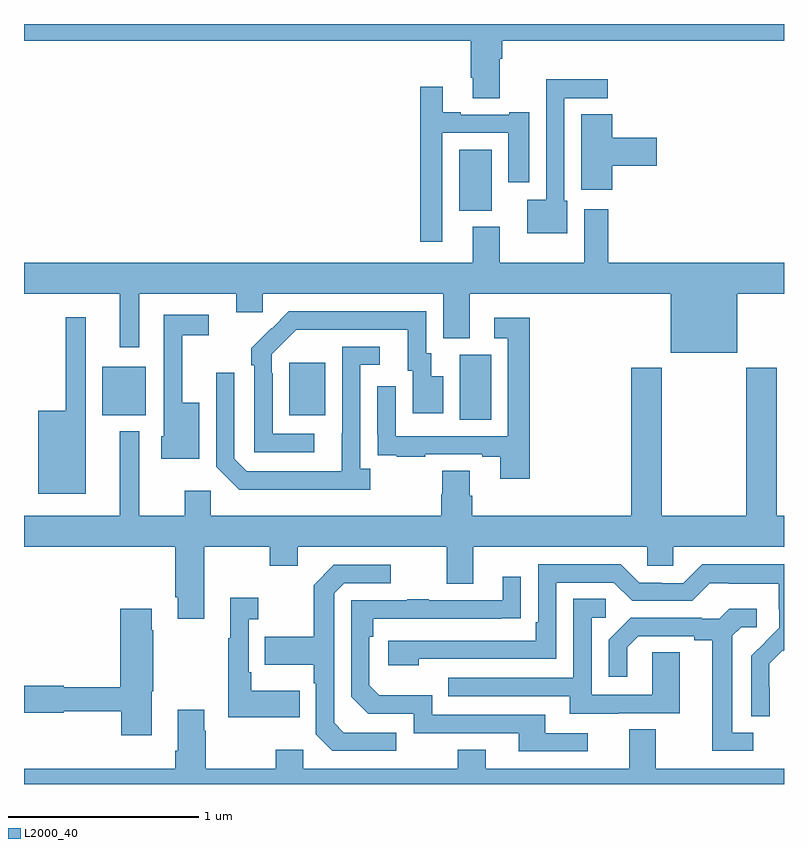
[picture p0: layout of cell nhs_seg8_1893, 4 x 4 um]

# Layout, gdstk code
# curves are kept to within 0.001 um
import gdstk
lib = gdstk.Library(unit=1e-6, precision=1e-09)
def R(c, l, rs):  # rectangles x0, y0, x1, y1
    for r in rs: c.add(gdstk.rectangle(r[:2], r[2:], *l))
def P(c, l, *ps):  # polygons
    for p in ps: c.add(gdstk.Polygon(p, *l))
L2000_40 = (2000, 40)

nhs_seg8_1893 = lib.new_cell('nhs_seg8_1893')
R(nhs_seg8_1893, L2000_40, [(233.294,1135.816,233.458,1136.16), (231.413,1135.841,231.64,1136.095), (232.397,1135.841,232.585,1136.116), (233.291,1136.918,233.461,1137.238)])
P(nhs_seg8_1893, L2000_40, [(233.503,1137.716),(233.516,1137.716),(233.516,1137.812),(235,1137.812),(235,1137.9),(231,1137.9),(231,1137.812),(233.351,1137.812),(233.351,1137.616),(233.363,1137.616),(233.363,1137.508),(233.503,1137.508)],
  [(233.86,1136.97),(233.844,1136.97),(233.844,1137.51),(234.073,1137.51),(234.073,1137.608),(233.748,1137.608),(233.748,1136.974),(233.648,1136.974),(233.648,1136.798),(233.86,1136.798)],
  [(233.202,1137.327),(233.549,1137.327),(233.549,1137.066),(233.659,1137.066),(233.659,1137.436),(233.555,1137.436),(233.555,1137.423),(233.299,1137.423),(233.299,1137.436),(233.203,1137.436),(233.203,1137.571),(233.086,1137.571),(233.086,1136.754),(233.202,1136.754)],
  [(234.095,1137.155),(234.331,1137.155),(234.331,1137.302),(234.095,1137.302),(234.095,1137.425),(233.933,1137.425),(233.933,1137.027),(234.095,1137.027)],
  [(234.754,1136.48),(235,1136.48),(235,1136.644),(234.074,1136.644),(234.074,1136.926),(233.948,1136.926),(233.948,1136.644),(233.503,1136.644),(233.503,1136.833),(233.363,1136.833),(233.363,1136.644),(231,1136.644),(231,1136.48),(231.503,1136.48),(231.503,1136.199),(231.607,1136.199),(231.607,1136.48),(232.118,1136.48),(232.118,1136.382),(232.257,1136.382),(232.257,1136.48),(233.207,1136.48),(233.207,1136.245),(233.347,1136.245),(233.347,1136.48),(234.404,1136.48),(234.404,1136.171),(234.754,1136.171)],
  [(232.528,1135.743),(232.308,1135.743),(232.308,1136.063),(232.305,1136.063),(232.305,1136.163),(232.434,1136.292),(233.021,1136.292),(233.021,1136.076),(233.045,1136.076),(233.045,1135.851),(233.206,1135.851),(233.206,1136.047),(233.143,1136.047),(233.143,1136.166),(233.118,1136.166),(233.118,1136.388),(232.394,1136.388),(232.197,1136.193),(232.197,1136.105),(232.212,1136.105),(232.212,1135.647),(232.528,1135.647)],
  [(231.922,1135.906),(231.833,1135.906),(231.833,1136.262),(231.973,1136.262),(231.973,1136.37),(231.735,1136.37),(231.735,1135.731),(231.722,1135.731),(231.722,1135.613),(231.922,1135.613)],
  [(231.325,1136.356),(231.221,1136.356),(231.221,1135.864),(231.074,1135.864),(231.074,1135.427),(231.325,1135.427)],
  [(233.663,1136.353),(233.475,1136.353),(233.475,1136.247),(233.547,1136.247),(233.547,1135.731),(232.956,1135.731),(232.956,1135.993),(232.86,1135.993),(232.86,1135.738),(232.861,1135.738),(232.861,1135.629),(232.963,1135.629),(232.963,1135.623),(233.111,1135.623),(233.111,1135.635),(233.411,1135.635),(233.411,1135.623),(233.507,1135.623),(233.507,1135.506),(233.663,1135.506)],
  [(232.822,1135.558),(232.77,1135.558),(232.77,1136.106),(232.873,1136.106),(232.873,1136.202),(232.674,1136.202),(232.673,1135.545),(232.173,1135.545),(232.107,1135.611),(232.107,1136.065),(232.011,1136.065),(232.011,1135.569),(232.132,1135.448),(232.822,1135.448)],
  [(233.225,1134.954),(233.365,1134.954),(233.365,1135.148),(234.279,1135.148),(234.279,1135.05),(234.417,1135.05),(234.417,1135.148),(235,1135.148),(235,1135.312),(234.962,1135.312),(234.962,1136.092),(234.802,1136.092),(234.802,1135.312),(234.357,1135.312),(234.357,1136.092),(234.197,1136.092),(234.197,1135.312),(233.36,1135.312),(233.36,1135.418),(233.347,1135.418),(233.347,1135.55),(233.2,1135.55),(233.2,1135.425),(233.195,1135.425),(233.195,1135.312),(231.984,1135.312),(231.984,1135.444),(231.845,1135.444),(231.845,1135.312),(231.607,1135.312),(231.607,1135.756),(231.503,1135.756),(231.503,1135.312),(231,1135.312),(231,1135.148),(231.797,1135.148),(231.797,1134.883),(231.809,1134.883),(231.809,1134.771),(231.949,1134.771),(231.949,1135.148),(232.294,1135.148),(232.294,1135.049),(232.441,1135.049),(232.441,1135.148),(233.225,1135.148)],
  [(234.924,1134.41),(234.923,1134.533),(234.993,1134.603),(234.996,1134.6),(235,1134.604),(235,1135.057),(234.571,1135.057),(234.471,1134.957),(234.356,1134.957),(234.356,1134.96),(234.237,1134.96),(234.141,1135.056),(233.706,1135.056),(233.706,1134.751),(233.693,1134.751),(233.693,1134.654),(232.917,1134.654),(232.917,1134.524),(233.078,1134.524),(233.078,1134.558),(233.802,1134.558),(233.802,1134.96),(234.105,1134.96),(234.201,1134.864),(234.516,1134.864),(234.609,1134.957),(234.709,1134.957),(234.709,1134.953),(234.972,1134.953),(234.972,1134.819),(234.974,1134.819),(234.974,1134.722),(234.828,1134.574),(234.828,1134.256),(234.924,1134.256)],
  [(232.96,1134.171),(232.683,1134.171),(232.632,1134.222),(232.632,1134.903),(232.686,1134.957),(232.93,1134.957),(232.93,1135.053),(232.629,1135.053),(232.524,1134.947),(232.524,1134.675),(232.267,1134.675),(232.267,1134.527),(232.524,1134.527),(232.524,1134.431),(232.536,1134.431),(232.536,1134.162),(232.623,1134.075),(232.96,1134.075)],
  [(233.968,1134.168),(233.743,1134.168),(233.743,1134.264),(233.148,1134.264),(233.148,1134.367),(232.871,1134.367),(232.818,1134.42),(232.818,1134.674),(232.838,1134.674),(232.838,1134.771),(233.615,1134.772),(233.615,1134.991),(233.519,1134.991),(233.519,1134.867),(233.129,1134.867),(233.129,1134.872),(233.017,1134.872),(233.017,1134.867),(232.722,1134.867),(232.722,1134.36),(232.812,1134.27),(233.052,1134.27),(233.052,1134.168),(233.603,1134.168),(233.603,1134.072),(233.968,1134.072)],
  [(232.451,1134.391),(232.195,1134.391),(232.195,1134.487),(232.182,1134.487),(232.182,1134.767),(232.234,1134.767),(232.234,1134.88),(232.085,1134.88),(232.085,1134.667),(232.074,1134.667),(232.074,1134.251),(232.451,1134.251)],
  [(234.127,1134.273),(234.451,1134.273),(234.451,1134.593),(234.306,1134.593),(234.306,1134.369),(233.988,1134.369),(233.988,1134.774),(234.061,1134.774),(234.061,1134.875),(233.892,1134.875),(233.892,1134.459),(233.233,1134.459),(233.233,1134.363),(233.873,1134.363),(233.873,1134.269),(234.127,1134.269)],
  [(234.838,1134.171),(234.727,1134.171),(234.727,1134.679),(234.774,1134.726),(234.856,1134.726),(234.856,1134.823),(234.712,1134.823),(234.66,1134.771),(234.566,1134.771),(234.566,1134.774),(234.194,1134.774),(234.078,1134.658),(234.078,1134.465),(234.175,1134.465),(234.175,1134.621),(234.232,1134.678),(234.527,1134.678),(234.527,1134.656),(234.623,1134.656),(234.623,1134.075),(234.838,1134.075)],
  [(231.673,1134.387),(231.681,1134.387),(231.681,1134.71),(231.673,1134.71),(231.673,1134.823),(231.506,1134.823),(231.506,1134.41),(231.21,1134.41),(231.21,1134.416),(231,1134.416),(231,1134.274),(231.21,1134.274),(231.21,1134.282),(231.511,1134.282),(231.511,1134.156),(231.673,1134.156)],
  [(235,1133.98),(234.325,1133.98),(234.325,1134.188),(234.185,1134.188),(234.185,1133.98),(233.431,1133.98),(233.431,1134.079),(233.284,1134.079),(233.284,1133.98),(232.47,1133.98),(232.47,1134.079),(232.324,1134.079),(232.324,1133.98),(231.957,1133.98),(231.957,1134.179),(231.949,1134.179),(231.949,1134.292),(231.809,1134.292),(231.809,1134.076),(231.797,1134.076),(231.797,1133.98),(231,1133.98),(231,1133.9),(235,1133.9)])

lib.write_gds('nhs_seg8_1893.gds')
